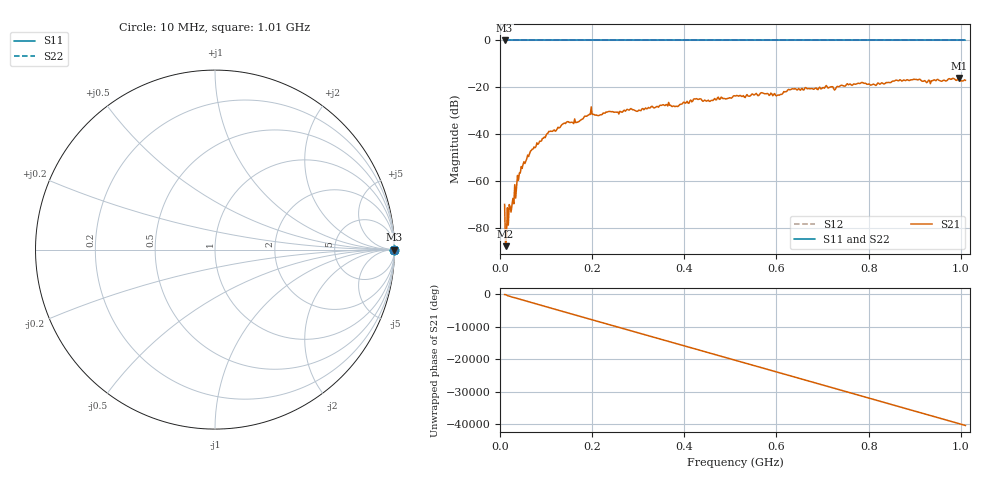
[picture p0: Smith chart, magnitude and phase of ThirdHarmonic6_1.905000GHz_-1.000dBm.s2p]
! 8/16/2025 10:59:26 PM
! C:\ANRITSUVNA\TEMP\TEMP.S2P
! CHANNEL.1
! TR.MEASUREMENT
! RAW.DATA
! RF.CORRECTION.OFF
! AVERAGING.OFF
! IF.BANDWIDTH: 5KHZ
! SWEEPTYPE:  FREQ.SWEEP(Linear)
! Reference Plane Port Info
! PORT:  PORT1  PORT2
! DISTANCE:  0  m  0  m
! TIME:  0  s  0  s
! PHASE.OFFSET:  0  deg.  0  deg.
! LOSS:  0  dB  0  dB
! REF.LOSS:  0  dB  0  dB
! REF.FREQ:  0  Hz  0  Hz
! Power Info
! POWER:  -20  dBm  -20  dBm
! EFF.POWER:  -20  dBm  -20  dBm
! SOURCE.ATTEN:  0  dB  0  dB
! TEST.ATTEN:  0  dB  0  dB
# GHZ S RI R 50.0
! FREQ.GHZ  S11RE  S11IM  S21RE  S21IM  S12RE  S12IM  S22RE  S22IM
!; PortSelection: Port_12
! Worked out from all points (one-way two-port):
!   501 points, 10 MHz to 1.01 GHz, reference 50 ohm
!   highest |S21| = -15.97 dB at 996 MHz (marker M1); lowest = -87.9 dB at 12 MHz (marker M2)
!   lowest |S11| = 0.0 dB at 10 MHz (marker M3)
!   |S11| at or under -10 dB: nowhere
!   |S22| runs from 0.0 to 0.0 dB; largest |S21 - S12| = 1.2
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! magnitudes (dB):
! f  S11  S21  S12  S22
! 10 MHz  0.0  -70.0  0.0  0.0
! 12 MHz  0.0  -87.9  0.0  0.0
! 16 MHz  0.0  -71.5  0.0  0.0
! 26 MHz  0.0  -70.3  0.0  0.0
! 42 MHz  0.0  -56.6  0.0  0.0
! 70 MHz  0.0  -46.4  0.0  0.0
! 106 MHz  0.0  -38.8  0.0  0.0
! 142 MHz  0.0  -35.5  0.0  0.0
! 178 MHz  0.0  -33.7  0.0  0.0
! 196 MHz  0.0  -31.6  0.0  0.0
! 214 MHz  0.0  -32.1  0.0  0.0
! 344 MHz  0.0  -28.5  0.0  0.0
! 384 MHz  0.0  -28.2  0.0  0.0
! 424 MHz  0.0  -25.0  0.0  0.0
! 458 MHz  0.0  -25.7  0.0  0.0
! 510 MHz  0.0  -23.7  0.0  0.0
! 602 MHz  0.0  -23.4  0.0  0.0
! 630 MHz  0.0  -21.0  0.0  0.0
! 678 MHz  0.0  -20.6  0.0  0.0
! 844 MHz  0.0  -18.0  0.0  0.0
! 996 MHz  0.0  -16.0  0.0  0.0
! 1.01 GHz  0.0  -17.0  0.0  0.0
